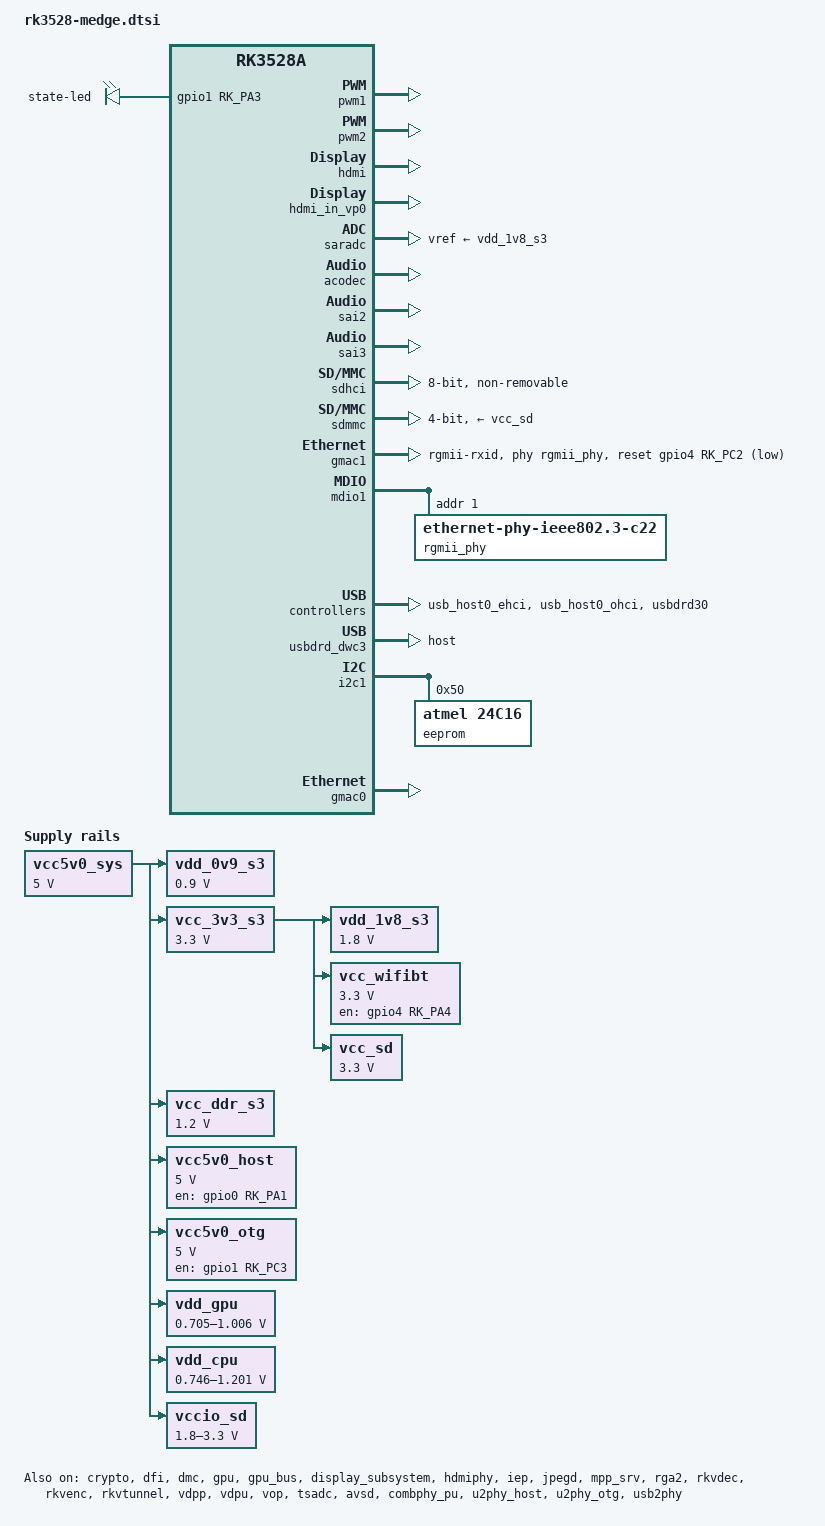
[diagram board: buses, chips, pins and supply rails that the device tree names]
// SPDX-License-Identifier: (GPL-2.0+ OR MIT)
/*
 * Copyright (c) 2022 Rockchip Electronics Co., Ltd.
 * Copyright (c) 2024 Radxa Limited
 *
 */

/dts-v1/;

#include <dt-bindings/gpio/gpio.h>
#include <dt-bindings/input/rk-input.h>
#include <dt-bindings/pinctrl/rockchip.h>
#include "rk3528.dtsi"
#include "rk3528-linux.dtsi"

/ {
	compatible = "radxa,medge-rk3528a", "rockchip,rk3528a";

	/delete-node/ chosen;

	aliases {
		mmc0 = &sdmmc;
		mmc1 = &sdhci;
		mmc2 = &sdio0;
	};

	vcc5v0_sys: vcc5v0-sys {
		compatible = "regulator-fixed";
		regulator-name = "vcc5v0_sys";
		regulator-always-on;
		regulator-boot-on;
		regulator-min-microvolt = <5000000>;
		regulator-max-microvolt = <5000000>;
	};

	vdd_0v9_s3: vdd-0v9-s3 {
		compatible = "regulator-fixed";
		regulator-name = "vdd_0v9_s3";
		regulator-always-on;
		regulator-boot-on;
		regulator-min-microvolt = <900000>;
		regulator-max-microvolt = <900000>;
		vin-supply = <&vcc5v0_sys>;
	};

	vcc_3v3_s3: vcc-3v3-s3 {
		compatible = "regulator-fixed";
		regulator-name = "vcc_3v3_s3";
		regulator-always-on;
		regulator-boot-on;
		regulator-min-microvolt = <3300000>;
		regulator-max-microvolt = <3300000>;
		vin-supply = <&vcc5v0_sys>;
	};

	vdd_1v8_s3: vdd-1v8-s3 {
		compatible = "regulator-fixed";
		regulator-name = "vdd_1v8_s3";
		regulator-always-on;
		regulator-boot-on;
		regulator-min-microvolt = <1800000>;
		regulator-max-microvolt = <1800000>;
		vin-supply = <&vcc_3v3_s3>;
	};

	vcc_ddr_s3: vcc-ddr-s3 {
		compatible = "regulator-fixed";
		regulator-name = "vcc_ddr_s3";
		regulator-always-on;
		regulator-boot-on;
		regulator-min-microvolt = <1200000>;
		regulator-max-microvolt = <1200000>;
		vin-supply = <&vcc5v0_sys>;
	};

	vcc_wifibt: vcc-wifibt-regulator {
		compatible = "regulator-fixed";
		regulator-name = "vcc_wifibt";
		regulator-boot-on;
		regulator-always-on;
		regulator-min-microvolt = <3300000>;
		regulator-max-microvolt = <3300000>;
		enable-active-high;
		gpio = <&gpio4 RK_PA4 GPIO_ACTIVE_HIGH>;
		vin-supply = <&vcc_3v3_s3>;
		pinctrl-names = "default";
		pinctrl-0 = <&vcc_wifibt_en>;
	};

	vcc5v0_host: vcc5v0-host-regulator {
		compatible = "regulator-fixed";
		regulator-name = "vcc5v0_host";
		regulator-boot-on;
		regulator-always-on;
		regulator-min-microvolt = <5000000>;
		regulator-max-microvolt = <5000000>;
		enable-active-high;
		gpio = <&gpio0 RK_PA1 GPIO_ACTIVE_HIGH>;
		vin-supply = <&vcc5v0_sys>;
		pinctrl-names = "default";
		pinctrl-0 = <&vcc5v0_host_en>;
	};

	vcc5v0_otg: vcc5v0-otg-regulator {
		compatible = "regulator-fixed";
		regulator-name = "vcc5v0_otg";
		regulator-min-microvolt = <5000000>;
		regulator-max-microvolt = <5000000>;
		enable-active-high;
		gpio = <&gpio1 RK_PC3 GPIO_ACTIVE_HIGH>;
		vin-supply = <&vcc5v0_sys>;
		pinctrl-names = "default";
		pinctrl-0 = <&vcc5v0_otg_en>;
	};

	vdd_gpu: vdd_logic: vdd-logic {
		compatible = "pwm-regulator";
		pwms = <&pwm2 0 5000 1>;
		regulator-name = "vdd_logic";
		regulator-min-microvolt = <705000>;
		regulator-max-microvolt = <1006000>;
		regulator-init-microvolt = <900000>;
		regulator-always-on;
		regulator-boot-on;
		regulator-settling-time-up-us = <250>;
		pwm-supply = <&vcc5v0_sys>;
		status = "okay";
	};

	vdd_cpu: vdd-cpu {
		compatible = "pwm-regulator";
		pwms = <&pwm1 0 5000 1>;
		regulator-name = "vdd_cpu";
		regulator-min-microvolt = <746000>;
		regulator-max-microvolt = <1201000>;
		regulator-init-microvolt = <953000>;
		regulator-always-on;
		regulator-boot-on;
		regulator-settling-time-up-us = <250>;
		pwm-supply = <&vcc5v0_sys>;
		status = "okay";
	};

	vccio_sd: vccio-sd {
		compatible = "regulator-gpio";
		regulator-name = "vccio_sd";
		regulator-min-microvolt = <1800000>;
		regulator-max-microvolt = <3300000>;
		gpios = <&gpio1 RK_PC1 GPIO_ACTIVE_HIGH>;
		vin-supply = <&vcc5v0_sys>;
		states = <1800000 0x0
			  3300000 0x1>;
	};

	vcc_sd: vcc-sd {
		compatible = "regulator-fixed";
		regulator-name = "vcc_sd";
		regulator-min-microvolt = <3300000>;
		regulator-max-microvolt = <3300000>;
		vin-supply = <&vcc_3v3_s3>;
	};

	hdmi_sound: hdmi-sound {
		status = "okay";
		compatible = "simple-audio-card";
		simple-audio-card,format = "i2s";
		simple-audio-card,mclk-fs = <128>;
		simple-audio-card,name = "rockchip-hdmi0";
		simple-audio-card,cpu {
			sound-dai = <&sai3>;
		};
		simple-audio-card,codec {
			sound-dai = <&hdmi>;
		};
	};

	acodec_sound: acodec-sound {
		status = "okay";
		compatible = "simple-audio-card";
		simple-audio-card,name = "rk3528-acodec";
		simple-audio-card,format = "i2s";
		simple-audio-card,mclk-fs = <256>;
		simple-audio-card,cpu {
			sound-dai = <&sai2>;
		};
		simple-audio-card,codec {
			sound-dai = <&acodec>;
		};
	};

	gpio_leds: gpio-leds {
		compatible = "gpio-leds";

		state-led {
			gpios = <&gpio1 RK_PA3 GPIO_ACTIVE_HIGH>;
			linux,default-trigger = "heartbeat";
		};
	};
};

&pwm1 {
	status = "okay";
};

&pwm2 {
	status = "okay";
};

&cpu0 {
	cpu-supply = <&vdd_cpu>;
};

&crypto {
	status = "okay";
};

&dfi {
	status = "okay";
};

&dmc {
	center-supply = <&vdd_logic>;
	status = "okay";
};

&gpu {
	mali-supply = <&vdd_gpu>;
	status = "okay";
};

&gpu_bus {
	bus-supply = <&vdd_logic>;
	status = "okay";
};

&display_subsystem {
	status = "okay";
};

&hdmi {
	status = "okay";
};

&hdmi_in_vp0 {
	status = "okay";
};

&hdmiphy {
	status = "okay";
};

&tve {
	status = "disabled";
};

&tve_in_vp1 {
	status = "disabled";
};

&iep {
	status = "okay";
};

&iep_mmu {
	status = "okay";
};

&jpegd {
	status = "okay";
};

&jpegd_mmu {
	status = "okay";
};

&mpp_srv {
	status = "okay";
};

&rga2 {
	status = "okay";
};

&rga2_mmu {
	status = "okay";
};

&rkvdec {
	status = "okay";
};

&rkvdec_mmu {
	status = "okay";
};

&rkvenc {
	status = "okay";
};

&rkvenc_mmu {
	status = "okay";
};

&rkvtunnel {
	status = "okay";
};

&rockchip_suspend {
	status = "okay";
	rockchip,sleep-debug-en = <1>;
	rockchip,virtual-poweroff = <1>;
	rockchip,sleep-mode-config = <
		(0
		| RKPM_SLP_ARMPD
		)
	>;
	rockchip,wakeup-config = <
		(0
		| RKPM_CPU0_WKUP_EN
		| RKPM_GPIO_WKUP_EN
		)
	>;
	rockchip,pwm-regulator-config = <
		(0
		| RKPM_PWM0_M0_REGULATOR_EN
		| RKPM_PWM1_M0_REGULATOR_EN
		)
	>;
};

&vdpp {
	status = "okay";
};

&vdpu {
	status = "okay";
};

&vdpu_mmu {
	status = "okay";
};

&vop {
	status = "okay";
};

&vop_mmu {
	status = "okay";
};

&tsadc {
	status = "okay";
};

&saradc {
	status = "okay";
	vref-supply = <&vdd_1v8_s3>;
};

&acodec {
	pa-ctl-gpios = <&gpio0 RK_PA0 GPIO_ACTIVE_HIGH>;
	status = "okay";
};

&avsd {
	status = "okay";
};

&sai2 {
	status = "okay";
};

&sai3 {
	status = "okay";
};

&sdhci {
	bus-width = <8>;
	no-sd;
	no-sdio;
	non-removable;
	mmc-hs400-1_8v;
	mmc-hs400-enhanced-strobe;
	max-frequency = <200000000>;
	status = "okay";
};

&sdmmc {
	bus-width = <4>;
	cap-mmc-highspeed;
	cap-sd-highspeed;
	disable-wp;
	max-frequency = <150000000>;
	pinctrl-names = "default";
	pinctrl-0 = <&sdmmc_clk &sdmmc_cmd &sdmmc_det &sdmmc_bus4>;
	rockchip,default-sample-phase = <90>;
	supports-sd;
	sd-uhs-sdr12;
	sd-uhs-sdr25;
	sd-uhs-sdr50;
	sd-uhs-sdr104;
	vqmmc-supply = <&vccio_sd>;
	vmmc-supply = <&vcc_sd>;
	status = "okay";
};

&gmac1 {
	/* Use rgmii-rxid mode to disable rx delay inside Soc */
	phy-mode = "rgmii-rxid";
	clock_in_out = "ouput";

	snps,reset-gpio = <&gpio4 RK_PC2 GPIO_ACTIVE_LOW>;
	snps,reset-active-low;
	/* Reset time is 20ms, 100ms for rtl8211f */
	snps,reset-delays-us = <0 20000 100000>;

	tx_delay = <0x30>;
	/* rx_delay = <0x3f>; */

	pinctrl-names = "default";
	pinctrl-0 = <&rgmii_miim
		     &rgmii_tx_bus2
		     &rgmii_rx_bus2
		     &rgmii_rgmii_clk
		     &rgmii_rgmii_bus>;

	phy-handle = <&rgmii_phy>;
	status = "okay";
};

&mdio1 {
	rgmii_phy: phy@1 {
		compatible = "ethernet-phy-ieee802.3-c22";
		reg = <0x1>;
	};
};

&combphy_pu {
	status = "okay";
};

&u2phy_host {
	phy-supply = <&vcc5v0_host>;
	status = "okay";
};

&u2phy_otg {
	vbus-supply = <&vcc5v0_otg>;
	status = "okay";
};

&usb2phy {
	status = "okay";
};

&usb_host0_ehci {
	status = "okay";
};

&usb_host0_ohci {
	status = "okay";
};

&usbdrd30 {
	status = "okay";
};

&usbdrd_dwc3 {
	dr_mode = "host";
	extcon = <&usb2phy>;
	status = "okay";
};

&i2c1 {
	status = "okay";
	pinctrl-names = "default";
	pinctrl-0 = <&i2c1m0_xfer>;

	eeprom:	bl24c16@50 {
		status = "okay";
		compatible = "atmel,24c16";
		reg = <0x50>;
		pagesize = <16>;
	};
};

&gmac0 {
	status = "okay";
};

&pinctrl {
	usb {
		vcc5v0_host_en: vcc5v0-host-en {
			rockchip,pins = <0 RK_PA1 RK_FUNC_GPIO &pcfg_pull_none>;
		};

		vcc5v0_otg_en: vcc5v0-otg-en {
			rockchip,pins = <1 RK_PC3 RK_FUNC_GPIO &pcfg_pull_none>;
		};
	};

	wifi-bt {
		vcc_wifibt_en: vcc-wifibt-en {
			rockchip,pins = <4 RK_PA4 RK_FUNC_GPIO &pcfg_pull_none>;
		};
	};
};
